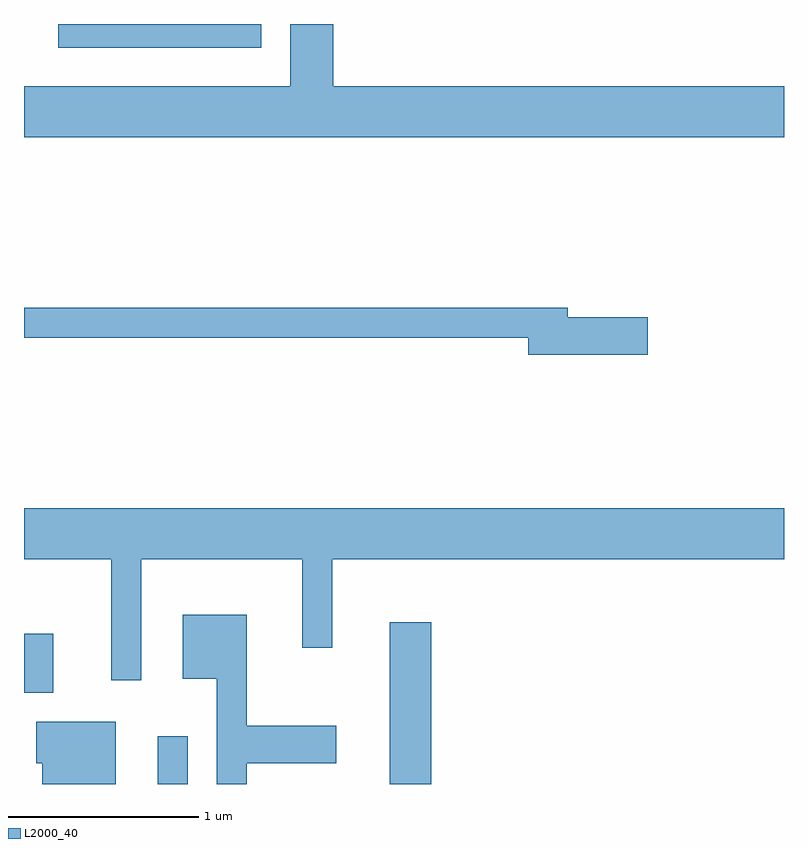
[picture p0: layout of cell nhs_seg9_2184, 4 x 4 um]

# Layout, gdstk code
import gdstk
lib = gdstk.Library(unit=1e-6, precision=1e-09)
def R(c, l, rs):  # rectangles x0, y0, x1, y1
    for r in rs: c.add(gdstk.rectangle(r[:2], r[2:], *l))
def P(c, l, *ps):  # polygons
    for p in ps: c.add(gdstk.Polygon(p, *l))
L2000_40 = (2000, 40)

nhs_seg9_2184 = lib.new_cell('nhs_seg9_2184')
R(nhs_seg9_2184, L2000_40, [(250.316,1968.432,250.474,1968.683), (251.536,1968.432,251.754,1969.284), (249.611,1968.911,249.764,1969.223), (249.791,1972.306,250.859,1972.432)])
P(nhs_seg9_2184, L2000_40, [(253.611,1972.104),(251.239,1972.104),(251.239,1972.432),(251.011,1972.432),(251.011,1972.104),(249.611,1972.104),(249.611,1971.836),(253.611,1971.836)],
  [(252.894,1970.889),(252.474,1970.889),(252.474,1970.939),(249.611,1970.939),(249.611,1970.781),(252.266,1970.781),(252.266,1970.691),(252.894,1970.691)],
  [(250.229,1969.616),(251.076,1969.616),(251.076,1969.148),(251.234,1969.148),(251.234,1969.616),(253.611,1969.616),(253.611,1969.884),(249.611,1969.884),(249.611,1969.616),(250.071,1969.616),(250.071,1968.978),(250.229,1968.978)],
  [(250.784,1968.541),(251.254,1968.541),(251.254,1968.739),(250.784,1968.739),(250.784,1969.324),(250.446,1969.324),(250.446,1968.986),(250.626,1968.986),(250.626,1968.432),(250.784,1968.432)],
  [(250.094,1968.759),(249.676,1968.759),(249.676,1968.541),(249.706,1968.541),(249.706,1968.432),(250.094,1968.432)])

lib.write_gds('nhs_seg9_2184.gds')
